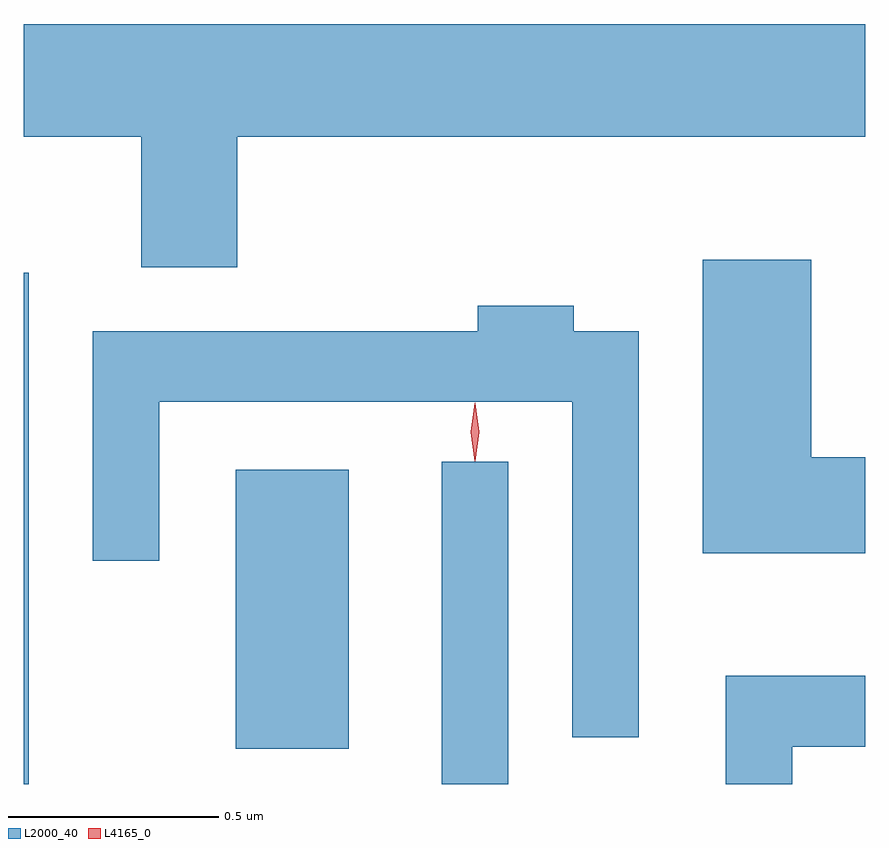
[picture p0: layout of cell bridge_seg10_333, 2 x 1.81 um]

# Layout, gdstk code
import gdstk
lib = gdstk.Library(unit=1e-6, precision=1e-09)
def R(c, l, rs):  # rectangles x0, y0, x1, y1
    for r in rs: c.add(gdstk.rectangle(r[:2], r[2:], *l))
def P(c, l, *ps):  # polygons
    for p in ps: c.add(gdstk.Polygon(p, *l))
L2000_40 = (2000, 40)
L4165_0 = (4165, 0)

bridge_seg10_333 = lib.new_cell('bridge_seg10_333')
R(bridge_seg10_333, L2000_40, [(1426.142,2176.757,1426.154,2177.973), (1427.136,2176.757,1427.294,2177.523), (1426.646,2176.841,1426.914,2177.504)])
P(bridge_seg10_333, L2000_40, [(1426.649,2178.296),(1428.142,2178.296),(1428.142,2178.564),(1426.142,2178.564),(1426.142,2178.296),(1426.421,2178.296),(1426.421,2177.986),(1426.649,2177.986)],
  [(1428.142,2177.534),(1428.014,2177.534),(1428.014,2178.004),(1427.756,2178.004),(1427.756,2177.306),(1428.142,2177.306)],
  [(1427.604,2177.834),(1427.449,2177.834),(1427.449,2177.894),(1427.221,2177.894),(1427.221,2177.834),(1426.306,2177.834),(1426.306,2177.288),(1426.464,2177.288),(1426.464,2177.666),(1427.446,2177.666),(1427.446,2176.868),(1427.604,2176.868)],
  [(1427.969,2176.846),(1428.142,2176.846),(1428.142,2177.014),(1427.811,2177.014),(1427.811,2176.757),(1427.969,2176.757)])
P(bridge_seg10_333, L4165_0, [(1427.215,2177.527),(1427.214,2177.528),(1427.205,2177.594),(1427.214,2177.66),(1427.215,2177.66),(1427.215,2177.66),(1427.225,2177.594),(1427.215,2177.528)],
  [(1427.214,2177.524),(1427.205,2177.593),(1427.214,2177.662),(1427.215,2177.663),(1427.215,2177.662),(1427.225,2177.593),(1427.215,2177.524),(1427.215,2177.524)])

lib.write_gds('bridge_seg10_333.gds')
